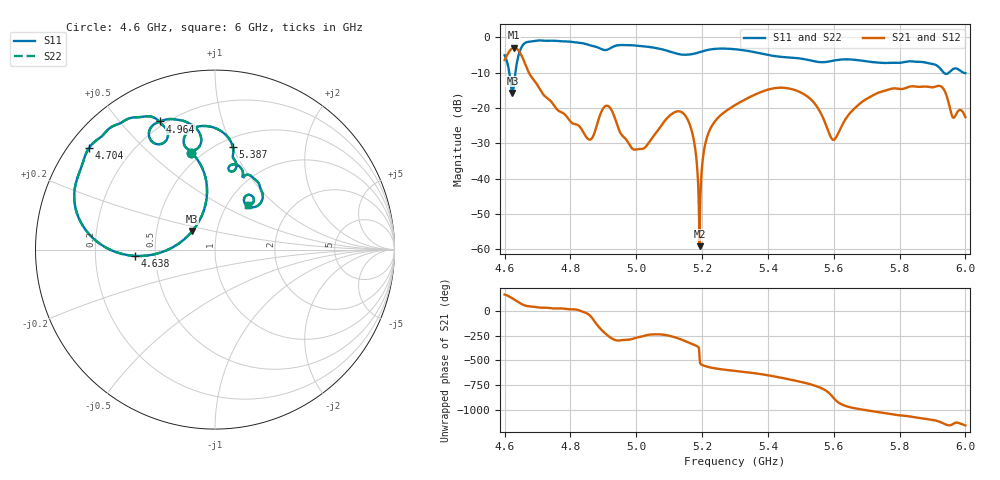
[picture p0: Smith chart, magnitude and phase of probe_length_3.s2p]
! TOUCHSTONE file generated by CST MICROWAVE STUDIO
! Date and time: Sat Nov 30 13:11:59 2024
! Project name: test_tuning.cst
! Parameters = {airCoaxOuterDiameter=3; chamferAngle=45; chamferWidth=24; connectorLength=10; drillingHoleDiameter=4.1; feedLength=60; flareDiameter=130; flareLength=70; gratingDistance=0; gratingGap=1.90274; outletLength=30; polarizerLength=134; probe1Diameter=1.3; probe1Distance=14; probe1Length=9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
! Header version: 2024
! Port assignment regex: !\s*Touchstone port\s*([0-9]+)\s*=\s*(CST MWS port|CST DES external port|CST DES block port)\s*(.+)\s* \(\"(.*)\"\)(\s*mode\s*([0-9]+))?.*
! Touchstone port assignment:
! Touchstone port 1 = CST MWS port 1 ("Input1")
! Touchstone port 2 = CST MWS port 2 ("Input2")
# GHz S MA R 50
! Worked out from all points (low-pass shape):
!   1001 points, 4.6 GHz to 6 GHz, reference 50 ohm
!   highest |S21| = -2.96 dB at 4.629 GHz (marker M1); lowest = -59.2 dB at 5.192 GHz (marker M2)
!   |S21| within 3 dB of the highest: 4.603 GHz to 4.655 GHz (52.79 MHz wide, 1.14 % of centre)
!   lowest |S11| = -15.7 dB at 4.624 GHz (marker M3), VSWR 1.39, Z = 38 + j8.09 ohm
!   |S11| at or under -10 dB: 4.614182 GHz to 4.632664 GHz (18.48 MHz wide, 0.4 % of centre); 5.934084 GHz to 5.949892 GHz (15.81 MHz wide, 0.266 % of centre); 5.993568 GHz to end of sweep
!   |S22| runs from -15.7 to -0.9 dB; largest |S21 - S12| = 1.5e-06
!   S11 on the Smith chart (normalised r, x): 4.6 GHz: 0.44, +0.69; 4.638 GHz: 0.38, -0.03; 4.704 GHz: 0.06, +0.35; 4.964 GHz: 0.18, +0.64; 5.387 GHz: 0.58, +1.00; 6 GHz: 1.24, +0.69
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4.6  0.5562 103.7  0.4752 168.9  0.4752 168.9  0.5562 103.7
4.6238  0.1632 140.7  0.7003 129.4  0.7003 129.4  0.1632 140.7
4.6294  0.2375 177.2  0.7112 117.2  0.7112 117.2  0.2375 177.2
4.6378  0.4482 -175.5  0.6834 99.0  0.6834 99.0  0.4482 -175.5
4.6588  0.8078 163.8  0.4624 61.4  0.4624 61.4  0.8078 163.8
4.7036  0.9021 141.0  0.1968 36.9  0.1968 36.9  0.9021 141.0
4.8338  0.8305 116.6  0.05001 -1.0  0.05001 -1.0  0.8305 116.6
4.8632  0.7633 113.2  0.03624 -59.0  0.03624 -59.0  0.7633 113.2
4.9122  0.6681 118.5  0.1073 115.4  0.1073 115.4  0.6681 118.5
4.964  0.7768 113.2  0.03786 67.6  0.03786 67.6  0.7768 113.2
5.0676  0.6939 99.5  0.0495 124.7  0.0495 124.7  0.6939 99.5
5.1516  0.5668 102.5  0.07471 52.0  0.07471 52.0  0.5668 102.5
5.1754  0.5853 105.5  0.03389 18.7  0.03389 18.7  0.5853 105.5
5.1922  0.6151 106.3  0.001101 -103.1  0.001101 -103.1  0.6151 106.3
5.2202  0.6669 103.7  0.04514 151.5  0.04514 151.5  0.6669 103.7
5.3  0.6784 90.2  0.1096 113.2  0.1096 113.2  0.6784 90.2
5.3868  0.5799 80.1  0.1734 75.9  0.1734 75.9  0.5799 80.1
5.5338  0.4646 75.6  0.1276 -27.7  0.1276 -27.7  0.4646 75.6
5.5996  0.4678 80.4  0.03532 -162.6  0.03532 -162.6  0.4678 80.4
5.7676  0.435 69.3  0.1823 38.2  0.1823 38.2  0.435 69.3
5.923  0.3633 45.6  0.2044 -45.7  0.2044 -45.7  0.3633 45.6
6  0.3106 53.6  0.07383 -81.4  0.07383 -81.4  0.3106 53.6
